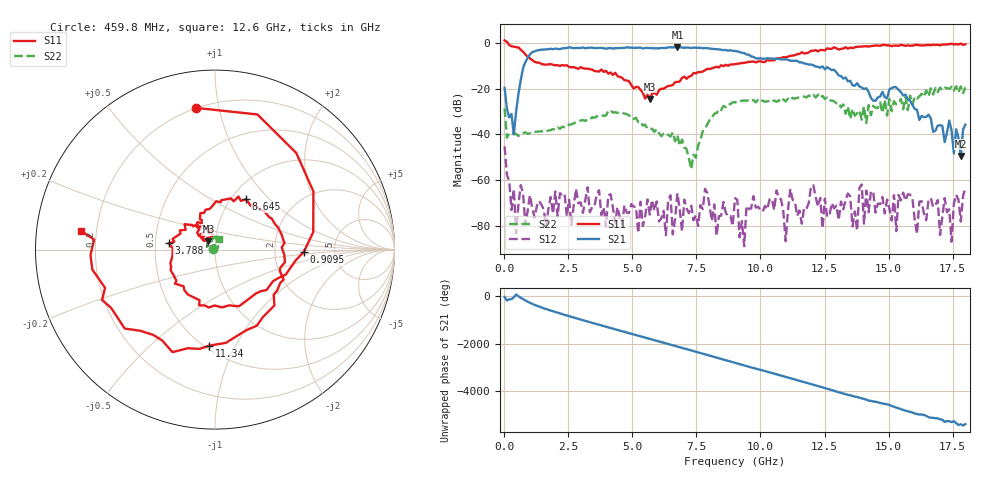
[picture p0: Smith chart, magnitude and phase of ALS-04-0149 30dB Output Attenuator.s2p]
!Agilent Technologies,E8363B,SG43030126,A.07.50.67
!Agilent E8363B: A.07.50.67
!Date: Friday, August 05, 1988 10:30:09
!Correction: S11(Full 2 Port(1,2))
!S21(Full 2 Port(1,2))
!S12(Full 2 Port(1,2))
!S22(Full 2 Port(1,2))
!S2P File: Measurements: S11, S21, S12, S22:
# Hz S  dB  R 50
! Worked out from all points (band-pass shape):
!   201 points, 10 MHz to 18 GHz, reference 50 ohm
!   highest |S21| = -1.86 dB at 6.756 GHz (marker M1); lowest = -49.4 dB at 17.82 GHz (marker M2)
!   |S21| within 3 dB of the highest: 1.023 GHz to 9.412 GHz (8.389 GHz wide, 161 % of centre)
!   lowest |S11| = -24.5 dB at 5.677 GHz (marker M3), VSWR 1.13, Z = 46.2 + j4.31 ohm
!   |S11| at or under -10 dB: 2.134 GHz to 2.203 GHz (69.52 MHz wide, 3.21 % of centre); 2.459 GHz to 8.449 GHz (5.99 GHz wide, 110 % of centre); 8.504 GHz to 8.591 GHz (86.47 MHz wide, 1.01 % of centre)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
!   |S22| runs from -55.2 to -19.0 dB; largest |S21 - S12| = 0.81
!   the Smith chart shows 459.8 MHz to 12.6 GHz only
!   S11 on the Smith chart (normalised r, x): 459.8 MHz: 0.20, +0.86; 909.5 MHz: 2.95, -0.11; 3.788 GHz: 0.59, +0.04; 8.645 GHz: 1.17, +0.74; 11.34 GHz: 0.53, -0.79; 12.6 GHz: 0.14, +0.07
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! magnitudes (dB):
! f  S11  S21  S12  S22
! 10 MHz  1.0  -19.7  -45.2  -28.6
! 279.9 MHz  -1.6  -31.1  -73.0  -39.4
! 369.8 MHz  -1.7  -40.1  -63.9  -39.4
! 459.8 MHz  -2.0  -30.0  -83.2  -39.9
! 639.6 MHz  -3.1  -16.4  -62.2  -39.8
! 909.5 MHz  -6.1  -6.6  -73.5  -39.8
! 3.068 GHz  -11.2  -2.1  -74.2  -33.7
! 3.788 GHz  -11.7  -2.3  -75.2  -31.9
! 5.677 GHz  -24.5  -2.4  -75.0  -37.5
! 6.037 GHz  -20.7  -2.5  -78.0  -39.5
! 6.756 GHz  -17.1  -1.9  -65.7  -40.4
! 6.936 GHz  -15.4  -2.0  -82.3  -42.2
! 7.296 GHz  -14.5  -2.3  -71.1  -55.2
! 8.645 GHz  -9.6  -3.2  -74.2  -28.1
! 9.005 GHz  -9.4  -3.6  -67.9  -26.1
! 11.34 GHz  -5.4  -7.9  -69.3  -24.4
! 11.61 GHz  -4.2  -8.6  -79.0  -23.9
! 12.06 GHz  -3.6  -9.8  -62.2  -22.8
! 12.6 GHz  -2.4  -10.7  -75.9  -23.9
! 15.03 GHz  -1.2  -20.4  -72.4  -24.6
! 17.82 GHz  -0.4  -49.4  -78.1  -19.0
! 18 GHz  -0.6  -35.7  -63.5  -19.5
